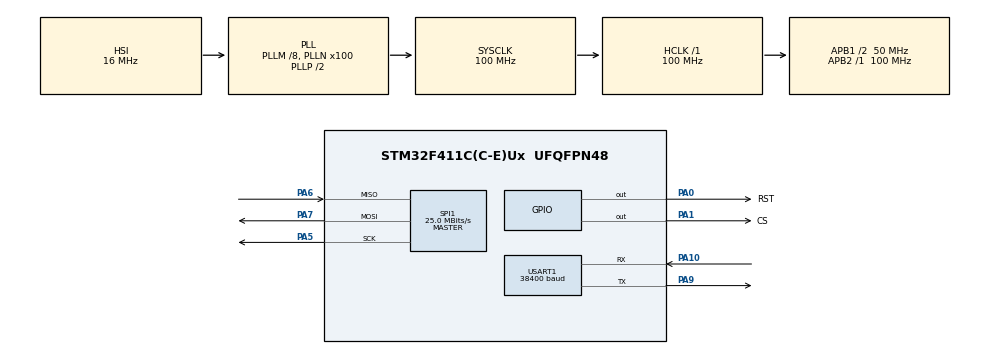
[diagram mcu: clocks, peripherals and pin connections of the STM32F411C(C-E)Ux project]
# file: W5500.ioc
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Mcu.Family=STM32F4
Mcu.Name=STM32F411C(C-E)Ux
Mcu.Package=UFQFPN48
NVIC.PriorityGroup=NVIC_PRIORITYGROUP_4
PA0-WKUP.GPIO_Label=RST
PA0-WKUP.Signal=GPIO_Output
PA1.GPIO_Label=CS
PA1.Signal=GPIO_Output
PA10.Mode=Asynchronous
PA10.Signal=USART1_RX
PA13.Mode=Serial_Wire
PA13.Signal=SYS_JTMS-SWDIO
PA14.Mode=Serial_Wire
PA14.Signal=SYS_JTCK-SWCLK
PA5.Mode=Full_Duplex_Master
PA5.Signal=SPI1_SCK
PA6.Mode=Full_Duplex_Master
PA6.Signal=SPI1_MISO
PA7.Mode=Full_Duplex_Master
PA7.Signal=SPI1_MOSI
PA9.Mode=Asynchronous
PA9.Signal=USART1_TX
PH0\ -\ OSC_IN.Mode=HSE-External-Oscillator
PH0\ -\ OSC_IN.Signal=RCC_OSC_IN
PH1\ -\ OSC_OUT.Mode=HSE-External-Oscillator
PH1\ -\ OSC_OUT.Signal=RCC_OSC_OUT
ProjectManager.HeapSize=0x200
ProjectManager.StackSize=0x400
ProjectManager.TargetToolchain=STM32CubeIDE
RCC.48MHZClocksFreq_Value=50000000
RCC.AHBFreq_Value=100000000
RCC.APB1CLKDivider=RCC_HCLK_DIV2
RCC.APB1Freq_Value=50000000
RCC.APB1TimFreq_Value=100000000
RCC.APB2Freq_Value=100000000
RCC.APB2TimFreq_Value=100000000
RCC.CortexFreq_Value=100000000
RCC.HCLKFreq_Value=100000000
RCC.HSE_VALUE=25000000
RCC.HSI_VALUE=16000000
RCC.LSE_VALUE=32768
RCC.PLLM=8
RCC.PLLN=100
RCC.SYSCLKFreq_VALUE=100000000
RCC.SYSCLKSource=RCC_SYSCLKSOURCE_PLLCLK
RCC.VCOOutputFreq_Value=200000000
SPI1.BaudRatePrescaler=SPI_BAUDRATEPRESCALER_4
SPI1.CalculateBaudRate=25.0 MBits/s
SPI1.Direction=SPI_DIRECTION_2LINES
SPI1.Mode=SPI_MODE_MASTER
SPI1.VirtualType=VM_MASTER
USART1.BaudRate=38400
USART1.VirtualMode=VM_ASYNC
board=custom

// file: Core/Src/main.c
/* USER CODE BEGIN Header */
/**
  ******************************************************************************
  * @file           : main.c
  * @brief          : Main program body
  ******************************************************************************
  * @attention
  *
  * Copyright (c) 2025 STMicroelectronics.
  * All rights reserved.
  *
  * This software is licensed under terms that can be found in the LICENSE file
  * in the root directory of this software component.
  * If no LICENSE file comes with this software, it is provided AS-IS.
  *
  ******************************************************************************
  */
/* USER CODE END Header */
#include "main.h"

/* USER CODE BEGIN PD */
uint8_t destination_ip[] = {192, 168, 100, 101};
uint16_t destination port = 1883;
/* USER CODE END PD */

SPI_HandleTypeDef hspi1;

UART_HandleTypeDef huart1;

void SystemClock_Config(void);
static void MX_GPIO_Init(void);
static void MX_SPI1_Init(void);
static void MX_USART1_UART_Init(void);
/* USER CODE BEGIN PFP */
static void PHYStatusCheck(void);
static void PrintPHYConf(void);

/* USER CODE END PFP */

int main(void)
{

  /* USER CODE BEGIN 1 */
  setbuf(stdout, NULL);

  /* USER CODE END 1 */

  /* MCU Configuration--------------------------------------------------------*/

  /* Reset of all peripherals, Initializes the Flash interface and the Systick. */
  HAL_Init();

  /* Configure the system clock */
  SystemClock_Config();

  /* Initialize all configured peripherals */
  MX_GPIO_Init();
  MX_SPI1_Init();
  MX_USART1_UART_Init();
  /* USER CODE BEGIN 2 */
  printf("CONNECT DUOC ROI YAYYYY\r\n");

  W5500_Init();

  ctlnetwork(CN_SET_NETINFO, (void*) &gWIZNETINFO);

  wiz_PhyConf phyconf;

  phyconf.by = PHY_CONFBY_SW;
  phyconf.duplex = PHY_DUPLEX_FULL;
  phyconf.speed = PHY_SPEED_10;
  phyconf.mode = PHY_MODE_AUTONEGO;

  ctlwizchip(CW_SET_PHYCONF, (void*) &phyconf);

  PHYStatusCheck();
  PrintPHYConf();

  socket(1, SN_MR_TCP, 0, 0);
  /* USER CODE END 2 */

  /* Infinite loop */
  while (1)
  {

  }
}

void SystemClock_Config(void)
{
  RCC_OscInitTypeDef RCC_OscInitStruct = {0};
  RCC_ClkInitTypeDef RCC_ClkInitStruct = {0};

  /** Configure the main internal regulator output voltage
  */
  __HAL_RCC_PWR_CLK_ENABLE();
  __HAL_PWR_VOLTAGESCALING_CONFIG(PWR_REGULATOR_VOLTAGE_SCALE1);

  /** Initializes the RCC Oscillators according to the specified parameters
  * in the RCC_OscInitTypeDef structure.
  */
  RCC_OscInitStruct.OscillatorType = RCC_OSCILLATORTYPE_HSI;
  RCC_OscInitStruct.HSIState = RCC_HSI_ON;
  RCC_OscInitStruct.HSICalibrationValue = RCC_HSICALIBRATION_DEFAULT;
  RCC_OscInitStruct.PLL.PLLState = RCC_PLL_ON;
  RCC_OscInitStruct.PLL.PLLSource = RCC_PLLSOURCE_HSI;
  RCC_OscInitStruct.PLL.PLLM = 8;
  RCC_OscInitStruct.PLL.PLLN = 100;
  RCC_OscInitStruct.PLL.PLLP = RCC_PLLP_DIV2;
  RCC_OscInitStruct.PLL.PLLQ = 4;
  if (HAL_RCC_OscConfig(&RCC_OscInitStruct) != HAL_OK)
  {
    Error_Handler();
  }

  /** Initializes the CPU, AHB and APB buses clocks
  */
  RCC_ClkInitStruct.ClockType = RCC_CLOCKTYPE_HCLK|RCC_CLOCKTYPE_SYSCLK
                              |RCC_CLOCKTYPE_PCLK1|RCC_CLOCKTYPE_PCLK2;
  RCC_ClkInitStruct.SYSCLKSource = RCC_SYSCLKSOURCE_PLLCLK;
  RCC_ClkInitStruct.AHBCLKDivider = RCC_SYSCLK_DIV1;
  RCC_ClkInitStruct.APB1CLKDivider = RCC_HCLK_DIV2;
  RCC_ClkInitStruct.APB2CLKDivider = RCC_HCLK_DIV1;

  if (HAL_RCC_ClockConfig(&RCC_ClkInitStruct, FLASH_LATENCY_3) != HAL_OK)
  {
    Error_Handler();
  }
}

static void MX_SPI1_Init(void)
{

  /* SPI1 parameter configuration*/
  hspi1.Instance = SPI1;
  hspi1.Init.Mode = SPI_MODE_MASTER;
  hspi1.Init.Direction = SPI_DIRECTION_2LINES;
  hspi1.Init.DataSize = SPI_DATASIZE_8BIT;
  hspi1.Init.CLKPolarity = SPI_POLARITY_LOW;
  hspi1.Init.CLKPhase = SPI_PHASE_1EDGE;
  hspi1.Init.NSS = SPI_NSS_SOFT;
  hspi1.Init.BaudRatePrescaler = SPI_BAUDRATEPRESCALER_4;
  hspi1.Init.FirstBit = SPI_FIRSTBIT_MSB;
  hspi1.Init.TIMode = SPI_TIMODE_DISABLE;
  hspi1.Init.CRCCalculation = SPI_CRCCALCULATION_DISABLE;
  hspi1.Init.CRCPolynomial = 10;
  if (HAL_SPI_Init(&hspi1) != HAL_OK)
  {
    Error_Handler();
  }
  /* USER CODE BEGIN SPI1_Init 2 */
  __HAL_SPI_ENABLE(&hspi1);
  /* USER CODE END SPI1_Init 2 */

}

static void MX_USART1_UART_Init(void)
{

  huart1.Instance = USART1;
  huart1.Init.BaudRate = 38400;
  huart1.Init.WordLength = UART_WORDLENGTH_8B;
  huart1.Init.StopBits = UART_STOPBITS_1;
  huart1.Init.Parity = UART_PARITY_NONE;
  huart1.Init.Mode = UART_MODE_TX_RX;
  huart1.Init.HwFlowCtl = UART_HWCONTROL_NONE;
  huart1.Init.OverSampling = UART_OVERSAMPLING_16;
  if (HAL_UART_Init(&huart1) != HAL_OK)
  {
    Error_Handler();
  }

}

static void MX_GPIO_Init(void)
{
  GPIO_InitTypeDef GPIO_InitStruct = {0};

  /* GPIO Ports Clock Enable */
  __HAL_RCC_GPIOH_CLK_ENABLE();
  __HAL_RCC_GPIOA_CLK_ENABLE();

  /*Configure GPIO pin Output Level */
  HAL_GPIO_WritePin(GPIOA, RST_Pin|CS_Pin, GPIO_PIN_RESET);

  /*Configure GPIO pins : RST_Pin CS_Pin */
  GPIO_InitStruct.Pin = RST_Pin|CS_Pin;
  GPIO_InitStruct.Mode = GPIO_MODE_OUTPUT_PP;
  GPIO_InitStruct.Pull = GPIO_NOPULL;
  GPIO_InitStruct.Speed = GPIO_SPEED_FREQ_LOW;
  HAL_GPIO_Init(GPIOA, &GPIO_InitStruct);

}

void Error_Handler(void)
{
  __disable_irq();
  while (1)
  {
  }
}
